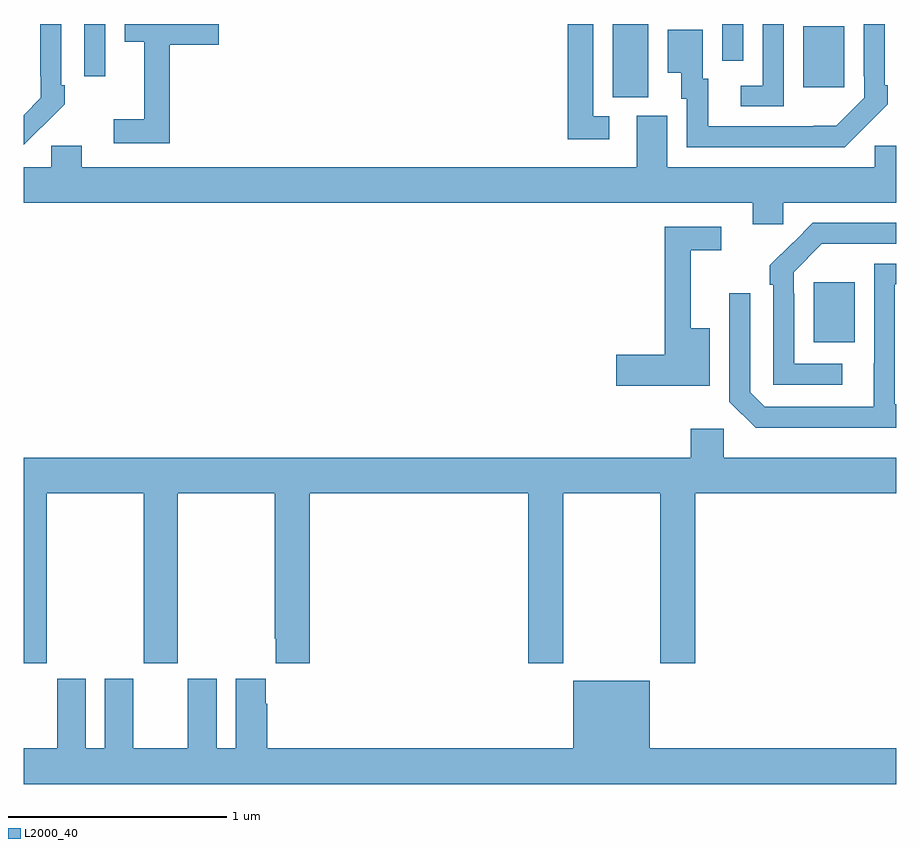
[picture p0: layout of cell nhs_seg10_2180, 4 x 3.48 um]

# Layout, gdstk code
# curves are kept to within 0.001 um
import gdstk
lib = gdstk.Library(unit=1e-6, precision=1e-09)
def R(c, l, rs):  # rectangles x0, y0, x1, y1
    for r in rs: c.add(gdstk.rectangle(r[:2], r[2:], *l))
def P(c, l, *ps):  # polygons
    for p in ps: c.add(gdstk.Polygon(p, *l))
L2000_40 = (2000, 40)

nhs_seg10_2180 = lib.new_cell('nhs_seg10_2180')
R(nhs_seg10_2180, L2000_40, [(230.621,1269.041,230.809,1269.316), (229.7,1270.165,229.864,1270.5), (230.573,1270.209,230.761,1270.489), (227.277,1270.26,227.373,1270.5), (230.202,1270.332,230.298,1270.5)])
P(nhs_seg10_2180, L2000_40, [(230.484,1270.5),(230.388,1270.5),(230.388,1270.218),(230.286,1270.218),(230.286,1270.122),(230.484,1270.122)],
  [(227.669,1270.406),(227.893,1270.406),(227.893,1270.5),(227.462,1270.5),(227.462,1270.418),(227.552,1270.418),(227.552,1270.063),(227.412,1270.063),(227.412,1269.954),(227.669,1269.954)],
  [(230.855,1270.027),(230.856,1270.026),(230.961,1270.131),(230.961,1270.219),(230.946,1270.219),(230.946,1270.5),(230.85,1270.5),(230.85,1270.261),(230.853,1270.261),(230.853,1270.161),(230.725,1270.033),(230.137,1270.032),(230.137,1270.248),(230.113,1270.248),(230.113,1270.474),(229.952,1270.474),(229.952,1270.277),(230.015,1270.277),(230.015,1270.158),(230.04,1270.158),(230.04,1269.936),(230.764,1269.936)],
  [(229.684,1270.077),(229.611,1270.077),(229.611,1270.5),(229.495,1270.5),(229.495,1269.972),(229.684,1269.972)],
  [(227.081,1270.027),(227.082,1270.026),(227.187,1270.131),(227.187,1270.219),(227.172,1270.219),(227.172,1270.5),(227.076,1270.5),(227.076,1270.261),(227.079,1270.261),(227.079,1270.161),(227,1270.082),(227,1269.946)],
  [(230.481,1269.68),(231,1269.68),(231,1269.942),(230.901,1269.942),(230.901,1269.844),(229.951,1269.844),(229.951,1270.08),(229.811,1270.08),(229.811,1269.844),(227.266,1269.844),(227.266,1269.942),(227.127,1269.942),(227.127,1269.844),(227,1269.844),(227,1269.68),(230.342,1269.68),(230.342,1269.582),(230.481,1269.582)],
  [(230.752,1268.943),(230.532,1268.943),(230.532,1269.263),(230.529,1269.263),(230.529,1269.363),(230.658,1269.492),(231,1269.492),(231,1269.588),(230.618,1269.588),(230.421,1269.393),(230.421,1269.305),(230.436,1269.305),(230.436,1268.847),(230.752,1268.847)],
  [(230.146,1269.106),(230.057,1269.106),(230.057,1269.462),(230.197,1269.462),(230.197,1269.57),(229.939,1269.57),(229.939,1268.984),(229.716,1268.984),(229.716,1268.842),(230.146,1268.842)],
  [(231,1268.758),(230.994,1268.758),(230.994,1269.306),(231,1269.306),(231,1269.402),(230.898,1269.402),(230.897,1268.745),(230.397,1268.745),(230.331,1268.811),(230.331,1269.265),(230.235,1269.265),(230.235,1268.769),(230.356,1268.648),(231,1268.648)],
  [(227.106,1268.348),(227.551,1268.348),(227.551,1267.569),(227.706,1267.569),(227.706,1268.348),(228.151,1268.348),(228.151,1267.681),(228.155,1267.681),(228.155,1267.569),(228.311,1267.569),(228.311,1268.348),(229.313,1268.348),(229.313,1267.569),(229.473,1267.569),(229.473,1268.348),(229.918,1268.348),(229.918,1267.569),(230.078,1267.569),(230.078,1268.348),(231,1268.348),(231,1268.512),(230.208,1268.512),(230.208,1268.644),(230.057,1268.644),(230.057,1268.512),(227,1268.512),(227,1267.569),(227.106,1267.569)],
  [(231,1267.18),(229.87,1267.18),(229.87,1267.489),(229.52,1267.489),(229.52,1267.18),(228.116,1267.18),(228.116,1267.385),(228.109,1267.385),(228.109,1267.498),(227.972,1267.498),(227.972,1267.18),(227.884,1267.18),(227.884,1267.498),(227.753,1267.498),(227.753,1267.18),(227.503,1267.18),(227.503,1267.498),(227.372,1267.498),(227.372,1267.18),(227.284,1267.18),(227.284,1267.498),(227.153,1267.498),(227.153,1267.18),(227,1267.18),(227,1267.016),(231,1267.016)])

lib.write_gds('nhs_seg10_2180.gds')
